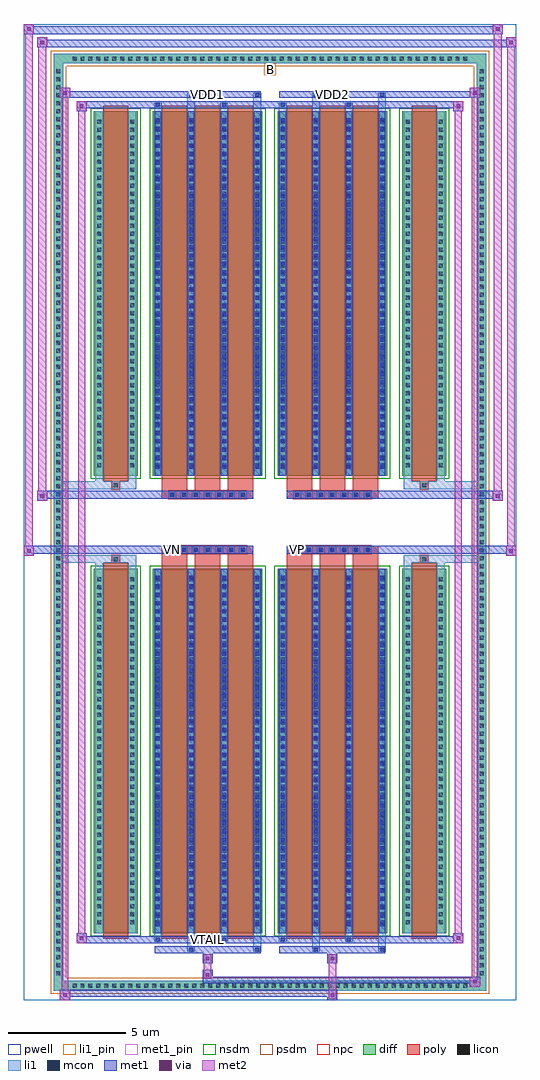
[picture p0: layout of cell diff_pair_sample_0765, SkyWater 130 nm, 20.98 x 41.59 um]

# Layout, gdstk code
import gdstk
lib = gdstk.Library(unit=1e-6, precision=5e-09)
def R(c, l, rs):  # rectangles x0, y0, x1, y1
    for r in rs: c.add(gdstk.rectangle(r[:2], r[2:], *l))
def A(c, l, x, y, w, h, nx, ny, dx, dy):  # array of equal rectangles
    R(c, l, [(x+i*dx, y+j*dy, x+i*dx+w, y+j*dy+h) for i in range(nx) for j in range(ny)])
def P(c, l, *ps):  # polygons
    for p in ps: c.add(gdstk.Polygon(p, *l))
pwell = (64, 44)
diff = (65, 20)
poly = (66, 20)
licon = (66, 44)
li1_pin = (67, 16)
li1 = (67, 20)
mcon = (67, 44)
met1_pin = (68, 16)
met1 = (68, 20)
via = (68, 44)
met2 = (69, 20)
nsdm = (93, 44)
psdm = (94, 20)
npc = (95, 20)

diff_pair_sample_0765 = lib.new_cell('diff_pair_sample_0765')
R(diff_pair_sample_0765, pwell, [(-10.49,-20.36,10.49,21.23), (-7.81,-18.55,-0.01,-0.805), (0.01,-18.55,7.81,-0.805), (-7.81,0.805,-0.01,18.55), (0.01,0.805,7.81,18.55)])
A(diff_pair_sample_0765, diff, -8.535, -19.96, 0.41, 0.41, 50, 2, 0.34, 39.51)
A(diff_pair_sample_0765, diff, -9.22, -19.415, 0.41, 0.41, 1, 114, 0, 0.34)
A(diff_pair_sample_0765, diff, 8.81, -19.415, 0.41, 0.41, 1, 114, 0, 0.34)
R(diff_pair_sample_0765, diff, [(-8.535,-19.96,8.535,-19.55), (-9.22,-19.415,-8.81,19.415), (8.81,-19.415,9.22,19.415), (-7.5,-17.505,-5.64,-1.985), (-5,-17.505,-0.32,-1.985), (0.32,-17.505,5,-1.985), (5.64,-17.505,7.5,-1.985), (-7.5,1.985,-5.64,17.505), (-5,1.985,-0.32,17.505), (0.32,1.985,5,17.505), (5.64,1.985,7.5,17.505), (-8.535,19.55,8.535,19.96)])
P(diff_pair_sample_0765, diff, [(9.22,19.96),(-9.22,19.96),(-9.22,-19.55),(-8.81,-19.55),(-8.81,19.55),(8.81,19.55),(8.81,-19.55),(-8.81,-19.55),(-9.22,-19.55),(-9.22,-19.96),(9.22,-19.96)])
A(diff_pair_sample_0765, poly, -4.61, -17.755, 1.08, 16.02, 3, 2, 1.41, 19.49)
A(diff_pair_sample_0765, poly, 0.71, -17.755, 1.08, 16.02, 3, 2, 1.41, 19.49)
A(diff_pair_sample_0765, poly, -4.61, -1.735, 1.08, 0.4, 3, 2, 1.41, 3.07)
A(diff_pair_sample_0765, poly, 0.71, -1.735, 1.08, 0.4, 3, 2, 1.41, 3.07)
A(diff_pair_sample_0765, poly, -4.325, -1.335, 0.33, 0.33, 7, 2, 0.5, 2.34)
A(diff_pair_sample_0765, poly, 0.995, -1.335, 0.33, 0.33, 7, 2, 0.5, 2.34)
R(diff_pair_sample_0765, poly, [(-7.11,-17.755,-6.03,-1.735), (6.03,-17.755,7.11,-1.735), (-6.735,-1.735,-6.405,-1.405), (-6.735,-1.735,-6.405,-1.405), (6.405,-1.735,6.735,-1.405), (6.405,-1.735,6.735,-1.405), (-4.61,-1.335,-0.71,-1.005), (0.71,-1.335,4.61,-1.005), (-4.61,1.005,-0.71,1.335), (0.71,1.005,4.61,1.335), (-6.735,1.405,-6.405,1.735), (-6.735,1.405,-6.405,1.735), (6.405,1.405,6.735,1.735), (6.405,1.405,6.735,1.735), (-7.11,1.735,-6.03,17.755), (6.03,1.735,7.11,17.755)])
A(diff_pair_sample_0765, licon, -8.415, -19.84, 0.17, 0.17, 50, 2, 0.34, 39.51)
A(diff_pair_sample_0765, licon, -9.1, -19.295, 0.17, 0.17, 1, 114, 0, 0.34)
A(diff_pair_sample_0765, licon, 8.93, -19.295, 0.17, 0.17, 1, 114, 0, 0.34)
A(diff_pair_sample_0765, licon, -7.36, -17.14, 0.17, 0.17, 1, 44, 0, 0.34)
A(diff_pair_sample_0765, licon, -5.95, -17.14, 0.17, 0.17, 1, 44, 0, 0.34)
A(diff_pair_sample_0765, licon, -4.86, -17.14, 0.17, 0.17, 4, 44, 1.41, 0.34)
A(diff_pair_sample_0765, licon, 0.46, -17.14, 0.17, 0.17, 4, 44, 1.41, 0.34)
A(diff_pair_sample_0765, licon, 5.78, -17.14, 0.17, 0.17, 1, 44, 0, 0.34)
A(diff_pair_sample_0765, licon, 7.19, -17.14, 0.17, 0.17, 1, 44, 0, 0.34)
A(diff_pair_sample_0765, licon, -4.245, -1.255, 0.17, 0.17, 7, 2, 0.5, 2.34)
A(diff_pair_sample_0765, licon, 1.075, -1.255, 0.17, 0.17, 7, 2, 0.5, 2.34)
A(diff_pair_sample_0765, licon, -7.36, 2.35, 0.17, 0.17, 1, 44, 0, 0.34)
A(diff_pair_sample_0765, licon, -5.95, 2.35, 0.17, 0.17, 1, 44, 0, 0.34)
A(diff_pair_sample_0765, licon, -4.86, 2.35, 0.17, 0.17, 4, 44, 1.41, 0.34)
A(diff_pair_sample_0765, licon, 0.46, 2.35, 0.17, 0.17, 4, 44, 1.41, 0.34)
A(diff_pair_sample_0765, licon, 5.78, 2.35, 0.17, 0.17, 1, 44, 0, 0.34)
A(diff_pair_sample_0765, licon, 7.19, 2.35, 0.17, 0.17, 1, 44, 0, 0.34)
R(diff_pair_sample_0765, licon, [(-6.655,-1.655,-6.485,-1.485), (6.485,-1.655,6.655,-1.485), (-6.655,1.485,-6.485,1.655), (6.485,1.485,6.655,1.655)])
R(diff_pair_sample_0765, li1_pin, [(-0.25,19.05,0.25,19.55)])
A(diff_pair_sample_0765, li1, -8.495, -19.92, 0.33, 0.33, 50, 2, 0.34, 39.51)
A(diff_pair_sample_0765, li1, -9.18, -19.375, 0.33, 0.33, 1, 114, 0, 0.34)
A(diff_pair_sample_0765, li1, 8.85, -19.375, 0.33, 0.33, 1, 114, 0, 0.34)
A(diff_pair_sample_0765, li1, -4.94, -17.505, 0.33, 15.52, 4, 2, 1.41, 19.49)
A(diff_pair_sample_0765, li1, 0.38, -17.505, 0.33, 15.52, 4, 2, 1.41, 19.49)
A(diff_pair_sample_0765, li1, -7.44, -17.22, 0.33, 0.33, 1, 44, 0, 0.34)
A(diff_pair_sample_0765, li1, -6.03, -17.22, 0.33, 0.33, 1, 44, 0, 0.34)
A(diff_pair_sample_0765, li1, -4.94, -17.22, 0.33, 0.33, 4, 44, 1.41, 0.34)
A(diff_pair_sample_0765, li1, 0.38, -17.22, 0.33, 0.33, 4, 44, 1.41, 0.34)
A(diff_pair_sample_0765, li1, 5.7, -17.22, 0.33, 0.33, 1, 44, 0, 0.34)
A(diff_pair_sample_0765, li1, 7.11, -17.22, 0.33, 0.33, 1, 44, 0, 0.34)
A(diff_pair_sample_0765, li1, -4.86, -17.21, 0.17, 0.17, 4, 42, 1.41, 0.36)
A(diff_pair_sample_0765, li1, -4.86, -17.21, 0.17, 14.93, 4, 2, 1.41, 19.49)
A(diff_pair_sample_0765, li1, 0.46, -17.21, 0.17, 0.17, 4, 42, 1.41, 0.36)
A(diff_pair_sample_0765, li1, 0.46, -17.21, 0.17, 14.93, 4, 2, 1.41, 19.49)
A(diff_pair_sample_0765, li1, -4.325, -1.335, 0.33, 0.33, 7, 2, 0.5, 2.34)
A(diff_pair_sample_0765, li1, 0.995, -1.335, 0.33, 0.33, 7, 2, 0.5, 2.34)
A(diff_pair_sample_0765, li1, -7.44, 2.27, 0.33, 0.33, 1, 44, 0, 0.34)
A(diff_pair_sample_0765, li1, -6.03, 2.27, 0.33, 0.33, 1, 44, 0, 0.34)
A(diff_pair_sample_0765, li1, -4.94, 2.27, 0.33, 0.33, 4, 44, 1.41, 0.34)
A(diff_pair_sample_0765, li1, 0.38, 2.27, 0.33, 0.33, 4, 44, 1.41, 0.34)
A(diff_pair_sample_0765, li1, 5.7, 2.27, 0.33, 0.33, 1, 44, 0, 0.34)
A(diff_pair_sample_0765, li1, 7.11, 2.27, 0.33, 0.33, 1, 44, 0, 0.34)
A(diff_pair_sample_0765, li1, -4.86, 2.28, 0.17, 0.17, 4, 42, 1.41, 0.36)
A(diff_pair_sample_0765, li1, 0.46, 2.28, 0.17, 0.17, 4, 42, 1.41, 0.36)
R(diff_pair_sample_0765, li1, [(-9.22,-19.96,-8.81,-19.55), (-9.22,-19.96,-8.81,-19.55), (-8.81,-19.96,8.81,-19.55), (8.81,-19.96,9.22,-19.55), (8.81,-19.96,9.22,-19.55), (-9.22,-19.55,-8.81,19.55), (8.81,-19.55,9.22,19.55), (-3.53,-18.31,-3.2,-17.505), (-3.45,-18.31,-3.28,-18.14), (-0.71,-18.31,-0.38,-17.505), (-0.63,-18.31,-0.46,-18.14), (1.79,-18.31,2.12,-17.505), (1.87,-18.31,2.04,-18.14), (4.61,-18.31,4.94,-17.505), (4.69,-18.31,4.86,-18.14), (-4.94,-17.88,-4.61,-17.505), (-4.86,-17.88,-4.69,-17.71), (-2.12,-17.88,-1.79,-17.505), (-2.04,-17.88,-1.87,-17.71), (0.38,-17.88,0.71,-17.505), (0.46,-17.88,0.63,-17.71), (3.2,-17.88,3.53,-17.505), (3.28,-17.88,3.45,-17.71), (-7.44,-17.505,-7.11,-1.985), (-6.03,-17.505,-5.7,-1.985), (5.7,-17.505,6.03,-1.985), (7.11,-17.505,7.44,-1.985), (-7.44,-1.985,-7.11,-1.405), (-6.03,-1.985,-5.7,-1.405), (5.7,-1.985,6.03,-1.405), (7.11,-1.985,7.44,-1.405), (-9.22,-1.735,-6.735,-1.405), (-7.44,-1.735,-6.735,-1.405), (-6.735,-1.735,-6.405,-1.405), (-6.405,-1.735,-5.7,-1.405), (5.7,-1.735,6.405,-1.405), (6.405,-1.735,6.735,-1.405), (6.405,-1.735,9.22,-1.405), (6.735,-1.735,7.44,-1.405), (-9.22,1.405,-6.735,1.735), (-7.44,1.405,-6.735,1.735), (-7.44,1.405,-7.11,1.985), (-6.735,1.405,-6.405,1.735), (-6.405,1.405,-5.7,1.735), (-6.03,1.405,-5.7,1.985), (5.7,1.405,6.405,1.735), (5.7,1.405,6.03,1.985), (6.405,1.405,6.735,1.735), (6.405,1.405,9.22,1.735), (6.735,1.405,7.44,1.735), (7.11,1.405,7.44,1.985), (-7.44,1.985,-7.11,17.505), (-6.03,1.985,-5.7,17.505), (5.7,1.985,6.03,17.505), (7.11,1.985,7.44,17.505), (-4.94,17.505,-4.61,17.88), (-3.53,17.505,-3.2,18.31), (-2.12,17.505,-1.79,17.88), (-0.71,17.505,-0.38,18.31), (0.38,17.505,0.71,17.88), (1.79,17.505,2.12,18.31), (3.2,17.505,3.53,17.88), (4.61,17.505,4.94,18.31), (-4.86,17.71,-4.69,17.88), (-2.04,17.71,-1.87,17.88), (0.46,17.71,0.63,17.88), (3.28,17.71,3.45,17.88), (-3.45,18.14,-3.28,18.31), (-0.63,18.14,-0.46,18.31), (1.87,18.14,2.04,18.31), (4.69,18.14,4.86,18.31), (-9.22,19.55,-8.81,19.96), (-9.22,19.55,-8.81,19.96), (-8.81,19.55,8.81,19.96), (8.81,19.55,9.22,19.96), (8.81,19.55,9.22,19.96)])
A(diff_pair_sample_0765, mcon, -4.86, -17.21, 0.17, 0.17, 4, 42, 1.41, 0.36)
A(diff_pair_sample_0765, mcon, 0.46, -17.21, 0.17, 0.17, 4, 42, 1.41, 0.36)
A(diff_pair_sample_0765, mcon, -4.245, -1.255, 0.17, 0.17, 7, 2, 0.5, 2.34)
A(diff_pair_sample_0765, mcon, 1.075, -1.255, 0.17, 0.17, 7, 2, 0.5, 2.34)
A(diff_pair_sample_0765, mcon, -4.86, 2.28, 0.17, 0.17, 4, 42, 1.41, 0.36)
A(diff_pair_sample_0765, mcon, 0.46, 2.28, 0.17, 0.17, 4, 42, 1.41, 0.36)
R(diff_pair_sample_0765, mcon, [(-3.45,-18.31,-3.28,-18.14), (-0.63,-18.31,-0.46,-18.14), (1.87,-18.31,2.04,-18.14), (4.69,-18.31,4.86,-18.14), (-4.86,-17.88,-4.69,-17.71), (-2.04,-17.88,-1.87,-17.71), (0.46,-17.88,0.63,-17.71), (3.28,-17.88,3.45,-17.71), (-4.86,17.71,-4.69,17.88), (-2.04,17.71,-1.87,17.88), (0.46,17.71,0.63,17.88), (3.28,17.71,3.45,17.88), (-3.45,18.14,-3.28,18.31), (-0.63,18.14,-0.46,18.31), (1.87,18.14,2.04,18.31), (4.69,18.14,4.86,18.31)])
R(diff_pair_sample_0765, met1_pin, [(-2.795,-17.92,-2.525,-17.65), (-4.295,-1.295,-4.025,-1.025), (1.025,-1.295,1.295,-1.025), (-2.795,18.1,-2.525,18.37), (2.525,18.1,2.795,18.37)])
A(diff_pair_sample_0765, met1, -4.92, -17.505, 0.29, 15.52, 4, 2, 1.41, 19.49)
A(diff_pair_sample_0765, met1, 0.4, -17.505, 0.29, 15.52, 4, 2, 1.41, 19.49)
A(diff_pair_sample_0765, met1, -4.92, -17.27, 0.29, 0.29, 4, 42, 1.41, 0.36)
A(diff_pair_sample_0765, met1, 0.4, -17.27, 0.29, 0.29, 4, 42, 1.41, 0.36)
A(diff_pair_sample_0765, met1, -4.305, -1.315, 0.29, 0.29, 7, 2, 0.5, 2.34)
A(diff_pair_sample_0765, met1, 1.015, -1.315, 0.29, 0.29, 7, 2, 0.5, 2.34)
A(diff_pair_sample_0765, met1, -4.92, 2.22, 0.29, 0.29, 4, 42, 1.41, 0.36)
A(diff_pair_sample_0765, met1, 0.4, 2.22, 0.29, 0.29, 4, 42, 1.41, 0.36)
R(diff_pair_sample_0765, met1, [(-8.95,-20.36,-8.52,-19.93), (2.445,-20.36,2.875,-19.93), (-8.95,-20.22,2.875,-19.93), (8.52,-19.79,8.95,-19.36), (-2.875,-19.65,8.95,-19.36), (-2.875,-19.51,-2.445,-19.08), (-2.875,-18.8,-2.445,-18.37), (2.445,-18.8,2.875,-18.37), (-4.92,-18.37,-0.4,-18.08), (-3.51,-18.37,-3.22,-18.08), (-0.69,-18.37,-0.4,-18.08), (0.4,-18.37,4.92,-18.08), (1.81,-18.37,2.1,-18.08), (4.63,-18.37,4.92,-18.08), (-8.24,-17.94,-7.81,-17.51), (-8.24,-17.94,-4.92,-17.65), (-4.92,-17.94,-4.63,-17.65), (-4.92,-17.94,-0.4,-17.65), (-2.1,-17.94,-1.81,-17.65), (-0.4,-17.94,0.4,-17.65), (0.4,-17.94,0.69,-17.65), (0.4,-17.94,4.92,-17.65), (3.22,-17.94,3.51,-17.65), (4.92,-17.94,8.24,-17.65), (7.81,-17.94,8.24,-17.51), (-10.49,-1.435,-10.06,-1.005), (10.06,-1.435,10.49,-1.005), (-10.49,-1.335,-0.71,-1.005), (-4.61,-1.335,-0.71,-1.005), (0.71,-1.335,4.61,-1.005), (0.71,-1.335,10.49,-1.005), (-9.92,0.905,-9.49,1.335), (9.49,0.905,9.92,1.335), (-9.92,1.005,-4.61,1.335), (-4.61,1.005,-0.71,1.335), (0.71,1.005,4.61,1.335), (4.61,1.005,9.92,1.335), (-8.24,17.51,-7.81,17.94), (7.81,17.51,8.24,17.94), (-8.24,17.65,-4.92,17.94), (-4.92,17.65,-4.63,17.94), (-4.92,17.65,-0.4,17.94), (-2.1,17.65,-1.81,17.94), (-0.4,17.65,0.4,17.94), (0.4,17.65,0.69,17.94), (0.4,17.65,4.92,17.94), (3.22,17.65,3.51,17.94), (4.92,17.65,8.24,17.94), (-8.95,18.08,-8.52,18.51), (-8.95,18.08,-4.92,18.37), (-4.92,18.08,-0.4,18.37), (-3.51,18.08,-3.22,18.37), (-0.69,18.08,-0.4,18.37), (0.4,18.08,4.92,18.37), (1.81,18.08,2.1,18.37), (4.63,18.08,4.92,18.37), (4.92,18.08,8.95,18.37), (8.52,18.08,8.95,18.51), (-9.92,20.23,-9.49,20.66), (-9.92,20.23,-7.81,20.56), (-7.81,20.23,7.81,20.56), (7.81,20.23,10.49,20.56), (10.06,20.23,10.49,20.66), (-10.49,20.8,-10.06,21.23), (-10.49,20.8,-7.81,21.13), (-7.81,20.8,7.81,21.13), (7.81,20.8,9.92,21.13), (9.49,20.8,9.92,21.23)])
R(diff_pair_sample_0765, via, [(-8.81,-20.22,-8.66,-20.07), (2.585,-20.22,2.735,-20.07), (8.66,-19.65,8.81,-19.5), (-2.735,-19.37,-2.585,-19.22), (-2.735,-18.66,-2.585,-18.51), (2.585,-18.66,2.735,-18.51), (-8.1,-17.8,-7.95,-17.65), (7.95,-17.8,8.1,-17.65), (-10.35,-1.295,-10.2,-1.145), (10.2,-1.295,10.35,-1.145), (-9.78,1.045,-9.63,1.195), (9.63,1.045,9.78,1.195), (-8.1,17.65,-7.95,17.8), (7.95,17.65,8.1,17.8), (-8.81,18.22,-8.66,18.37), (8.66,18.22,8.81,18.37), (-9.78,20.37,-9.63,20.52), (10.2,20.37,10.35,20.52), (-10.35,20.94,-10.2,21.09), (9.63,20.94,9.78,21.09)])
R(diff_pair_sample_0765, met2, [(-8.95,-20.36,-8.52,-19.93), (-8.88,-20.36,-8.59,18.51), (-8.59,-20.36,-8.52,-19.93), (-8.9,-20.31,-8.57,-19.98), (2.495,-20.31,2.825,-19.98), (2.495,-19.98,2.825,-18.75), (8.52,-19.79,8.95,-19.36), (8.59,-19.79,8.88,18.51), (8.88,-19.79,8.95,-19.36), (8.57,-19.74,8.9,-19.41), (-2.825,-19.46,-2.495,-19.13), (-2.825,-19.13,-2.495,-18.75), (-2.825,-18.75,-2.495,-18.42), (2.495,-18.75,2.825,-18.42), (-8.24,-17.94,-7.81,-17.51), (-8.17,-17.94,-7.88,17.94), (-7.88,-17.94,-7.81,-17.51), (7.81,-17.94,8.24,-17.51), (7.88,-17.94,8.17,17.94), (8.17,-17.94,8.24,-17.51), (-8.19,-17.89,-7.86,-17.56), (7.86,-17.89,8.19,-17.56), (-10.49,-1.435,-10.06,-1.005), (-10.44,-1.435,-10.11,21.23), (-10.11,-1.435,-10.06,-1.005), (10.06,-1.435,10.49,-1.005), (10.11,-1.435,10.44,20.66), (10.44,-1.435,10.49,-1.005), (-10.44,-1.385,-10.11,-1.055), (10.11,-1.385,10.44,-1.055), (-9.92,0.905,-9.49,1.335), (-9.87,0.905,-9.54,20.66), (-9.54,0.905,-9.49,1.335), (9.49,0.905,9.92,1.335), (9.54,0.905,9.87,21.23), (9.87,0.905,9.92,1.335), (-9.87,0.955,-9.54,1.285), (9.54,0.955,9.87,1.285), (-8.24,17.51,-7.81,17.94), (-7.88,17.51,-7.81,17.94), (7.81,17.51,8.24,17.94), (8.17,17.51,8.24,17.94), (-8.19,17.56,-7.86,17.89), (7.86,17.56,8.19,17.89), (-8.95,18.08,-8.52,18.51), (-8.59,18.08,-8.52,18.51), (8.52,18.08,8.95,18.51), (8.88,18.08,8.95,18.51), (-8.9,18.13,-8.57,18.46), (8.57,18.13,8.9,18.46), (-9.92,20.23,-9.49,20.66), (-9.54,20.23,-9.49,20.66), (10.06,20.23,10.49,20.66), (10.44,20.23,10.49,20.66), (-9.87,20.28,-9.54,20.61), (10.11,20.28,10.44,20.61), (-10.49,20.8,-10.06,21.23), (-10.11,20.8,-10.06,21.23), (9.49,20.8,9.92,21.23), (9.87,20.8,9.92,21.23), (-10.44,20.85,-10.11,21.18), (9.54,20.85,9.87,21.18)])
R(diff_pair_sample_0765, nsdm, [(-7.63,-17.635,-5.51,-1.855), (-5.13,-17.635,-0.19,-1.855), (0.19,-17.635,5.13,-1.855), (5.51,-17.635,7.63,-1.855), (-7.63,1.855,-5.51,17.635), (-5.13,1.855,-0.19,17.635), (0.19,1.855,5.13,17.635), (5.51,1.855,7.63,17.635)])
P(diff_pair_sample_0765, psdm, [(9.35,20.09),(-9.35,20.09),(-9.35,-19.42),(-8.68,-19.42),(-8.68,19.42),(8.68,19.42),(8.68,-19.42),(-8.68,-19.42),(-9.35,-19.42),(-9.35,-20.09),(9.35,-20.09)])
A(diff_pair_sample_0765, npc, -4.345, -1.355, 0.37, 0.37, 7, 2, 0.5, 2.34)
A(diff_pair_sample_0765, npc, 0.975, -1.355, 0.37, 0.37, 7, 2, 0.5, 2.34)
R(diff_pair_sample_0765, npc, [(-6.755,-1.755,-6.385,-1.385), (6.385,-1.755,6.755,-1.385), (-4.345,-1.355,-3.475,-0.985), (-4.345,-1.355,-3.475,-0.985), (-3.845,-1.355,-2.975,-0.985), (-3.845,-1.355,-2.975,-0.985), (-3.345,-1.355,-2.475,-0.985), (-3.345,-1.355,-2.475,-0.985), (-2.845,-1.355,-1.975,-0.985), (-2.845,-1.355,-1.975,-0.985), (-2.345,-1.355,-1.475,-0.985), (-2.345,-1.355,-1.475,-0.985), (-1.845,-1.355,-0.975,-0.985), (-1.845,-1.355,-0.975,-0.985), (0.975,-1.355,1.845,-0.985), (0.975,-1.355,1.845,-0.985), (1.475,-1.355,2.345,-0.985), (1.475,-1.355,2.345,-0.985), (1.975,-1.355,2.845,-0.985), (1.975,-1.355,2.845,-0.985), (2.475,-1.355,3.345,-0.985), (2.475,-1.355,3.345,-0.985), (2.975,-1.355,3.845,-0.985), (2.975,-1.355,3.845,-0.985), (3.475,-1.355,4.345,-0.985), (3.475,-1.355,4.345,-0.985), (-4.345,0.985,-3.475,1.355), (-4.345,0.985,-3.475,1.355), (-3.845,0.985,-2.975,1.355), (-3.845,0.985,-2.975,1.355), (-3.345,0.985,-2.475,1.355), (-3.345,0.985,-2.475,1.355), (-2.845,0.985,-1.975,1.355), (-2.845,0.985,-1.975,1.355), (-2.345,0.985,-1.475,1.355), (-2.345,0.985,-1.475,1.355), (-1.845,0.985,-0.975,1.355), (-1.845,0.985,-0.975,1.355), (0.975,0.985,1.845,1.355), (0.975,0.985,1.845,1.355), (1.475,0.985,2.345,1.355), (1.475,0.985,2.345,1.355), (1.975,0.985,2.845,1.355), (1.975,0.985,2.845,1.355), (2.475,0.985,3.345,1.355), (2.475,0.985,3.345,1.355), (2.975,0.985,3.845,1.355), (2.975,0.985,3.845,1.355), (3.475,0.985,4.345,1.355), (3.475,0.985,4.345,1.355), (-6.755,1.385,-6.385,1.755), (6.385,1.385,6.755,1.755)])
diff_pair_sample_0765.add(gdstk.Label('VTAIL', (-2.66,-17.785), layer=68, texttype=5))
diff_pair_sample_0765.add(gdstk.Label('VN', (-4.16,-1.16), layer=68, texttype=5))
diff_pair_sample_0765.add(gdstk.Label('VP', (1.16,-1.16), layer=68, texttype=5))
diff_pair_sample_0765.add(gdstk.Label('B', (0,19.3), layer=67, texttype=5))
diff_pair_sample_0765.add(gdstk.Label('VDD2', (2.66,18.235), layer=68, texttype=5))
diff_pair_sample_0765.add(gdstk.Label('VDD1', (-2.66,18.235), layer=68, texttype=5))

lib.write_gds('diff_pair_sample_0765.gds')
